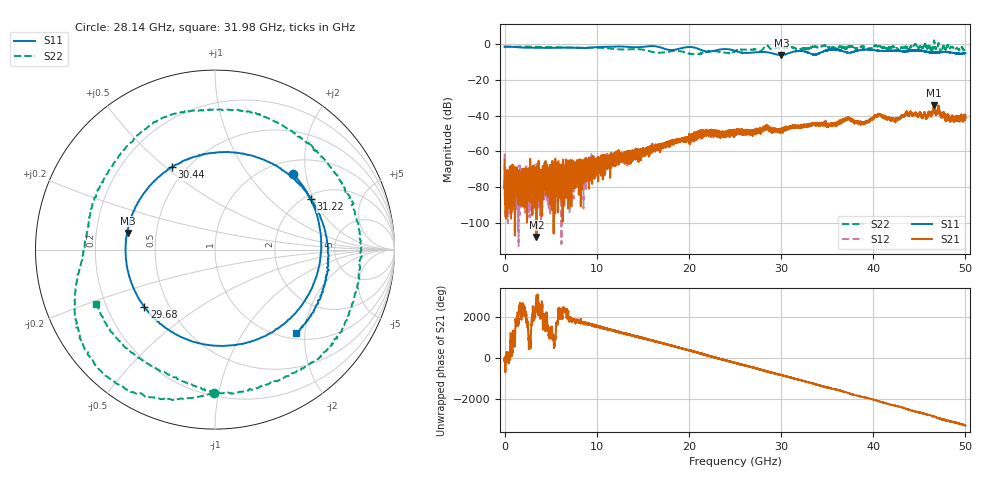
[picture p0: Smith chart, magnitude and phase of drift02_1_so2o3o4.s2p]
!Created with skrf (http://scikit-rf.org).
# Hz S RI R 50.0
!freq ReS11 ImS11 ReS21 ImS21 ReS12 ImS12 ReS22 ImS22
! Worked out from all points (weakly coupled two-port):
!   10001 points, 300 kHz to 50 GHz, reference 50 ohm
!   highest |S21| = -34.18 dB at 46.63 GHz (marker M1); lowest = -107.8 dB at 3.46 GHz (marker M2)
!   lowest |S11| = -6.1 dB at 30.05 GHz (marker M3), VSWR 2.96, Z = 17 + j4.19 ohm
!   |S11| at or under -10 dB: nowhere
!   |S22| runs from -5.7 to 2.1 dB; largest |S21 - S12| = 0.0028
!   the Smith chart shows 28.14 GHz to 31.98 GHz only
!   S11 on the Smith chart (normalised r, x): 28.14 GHz: 1.28, +1.70; 29.68 GHz: 0.36, -0.31; 30.44 GHz: 0.42, +0.53; 31.22 GHz: 2.15, +1.91; 31.98 GHz: 1.13, -1.81
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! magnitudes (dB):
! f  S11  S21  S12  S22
! 300 kHz  -1.3  -64.5  -61.1  -2.1
! 265.3 MHz  -1.4  -79.8  -74.6  -1.4
! 3.46 GHz  -2.0  -107.8  -66.9  -1.5
! 5.95 GHz  -2.0  -69.1  -74.7  -1.7
! 8.335 GHz  -2.2  -75.3  -67.5  -1.9
! 16.67 GHz  -1.5  -58.5  -56.6  -4.8
! 21.7 GHz  -3.9  -50.3  -50.1  -4.6
! 25 GHz  -3.7  -49.4  -49.5  -4.0
! 28.14 GHz  -4.3  -47.0  -48.0  -2.0
! 29.68 GHz  -5.9  -48.0  -48.2  -2.1
! 30.05 GHz  -6.1  -48.0  -47.8  -2.1
! 30.44 GHz  -5.7  -47.5  -47.0  -2.0
! 31.22 GHz  -4.4  -46.6  -46.0  -1.8
! 31.98 GHz  -3.8  -46.0  -46.2  -2.8
! 33.34 GHz  -5.5  -44.6  -44.9  -1.5
! 37.26 GHz  -4.7  -41.3  -41.4  -1.5
! 38.79 GHz  -3.1  -44.4  -44.1  -1.1
! 40.59 GHz  -3.6  -39.2  -39.3  -1.0
! 41.67 GHz  -3.7  -41.7  -41.3  -1.9
! 46.63 GHz  -4.8  -34.2  -35.0  1.7
! 48.11 GHz  -4.3  -39.8  -39.9  -0.5
! 50 GHz  -5.0  -41.1  -41.2  -2.6
